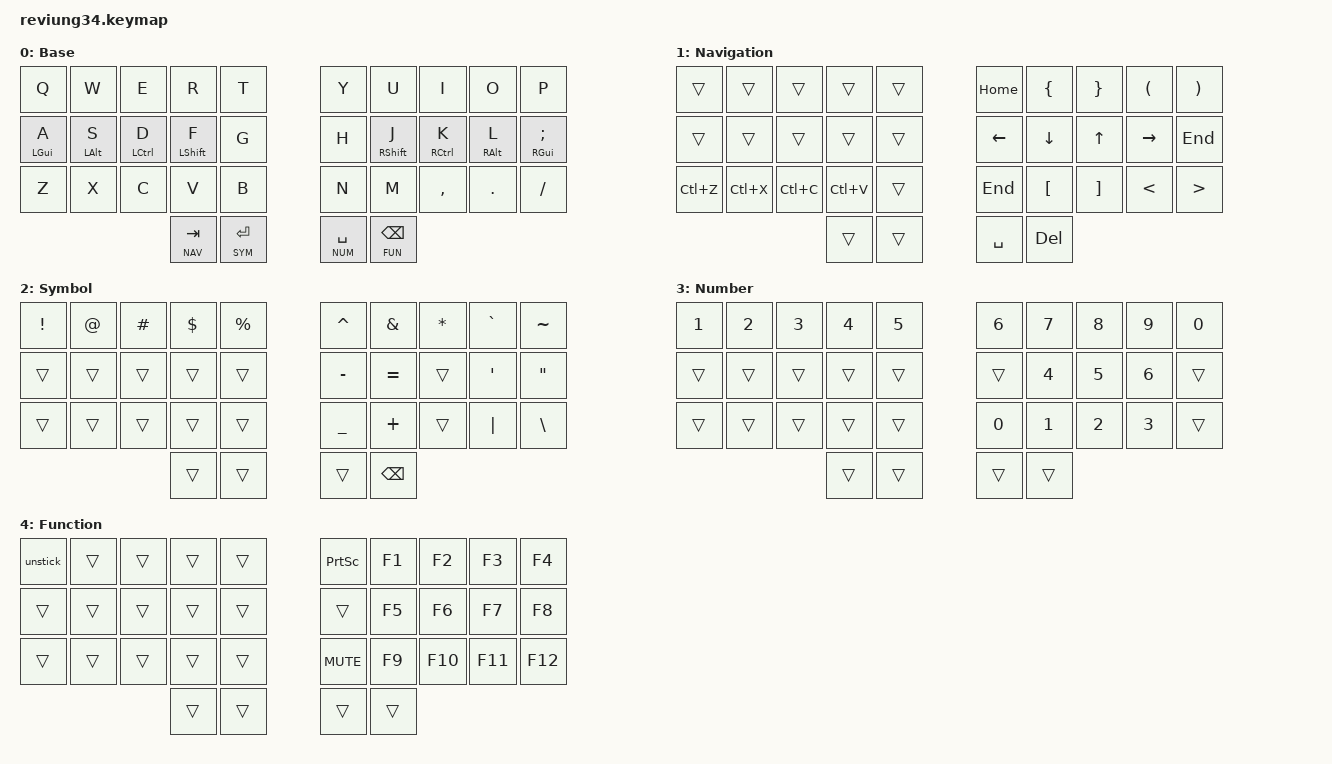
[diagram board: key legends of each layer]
/*
 * Copyright (c) 2023 The ZMK Contributors
 *
 * SPDX-License-Identifier: MIT
 */

#include <behaviors.dtsi>
#include <dt-bindings/zmk/keys.h>

#define DEFAULT 0
#define NAV 1
#define SYM 2
#define NUM 3
#define FUN 4

&mt {        
    #binding-cells = <2>;
    tapping-term-ms = <220>;
    quick-tap-ms = <125>;
    flavor = "balanced";
    bindings = <&kp>, <&kp>;
};

&caps_word {
    continue-list = <UNDERSCORE MINUS BSPC>;
};

/ {
    chosen {
        // 34 keys.

        zmk,matrix-transform = &dual_1u_transform;

        // 33 keys. Center two thumb keys replaced by a single 2u key. Remember to adjust your
        // keymap accordingly!
        // zmk,matrix-transform = &single_2u_transform;
    };
};

/ {

    macros {
        // sometimes my device thinks a modifier is being held down
        // pressing all modifiers fixes it.
        unstick: unstick {
                label = "ZM_unstick";
                compatible = "zmk,behavior-macro";
                #binding-cells = <0>;
                bindings
                        = <&kp LSHIFT &kp RSHIFT &kp LCTRL &kp RCTRL &kp LALT &kp RALT &kp LGUI &kp RGUI>;
        };
    };
    combos {
        compatible = "zmk,combos";

        /*
        combo_tab {
                timeout-ms = <50>;
                key-positions = <0 1>; // QW
                bindings = <&kp TAB>;
        };
        */

        combo_esc {
            timeout-ms = <50>;
            key-positions = <16 17>; // JK
            bindings = <&gresc>;
        };

        combo_gui {
            timeout-ms = <50>;
            key-positions = <20 21>; // ZX
            bindings = <&kp LGUI>;
        };

        combo_caps_word {
            timeout-ms = <50>;
            key-positions = <20 29>; // Z/
            bindings = <&caps_word>;
        };

        combo_caps {
            timeout-ms = <50>;
            key-positions = <10 19>; // A;
            bindings = <&kp CAPS>;
        };

        /*
        combo_bksp {
                timeout-ms = <50>;
                key-positions = <17 18>; // KL
                bindings = <&kp BSPC>;
        };
        combo_double_quote {
                timeout-ms = <50>;
                key-positions = <18 19>; // LM
                bindings = <&kp DQT>;
        };
        combo_single_quote {
                timeout-ms = <50>;
                key-positions = <28 29>; // ./
                bindings = <&kp SQT>;
        };
        */
    };

    keymap {
        compatible = "zmk,keymap";

        // ---------------------------------------------------------------------------------------------------
        // |    q    |    w    |    e     |    r    |  t  |   |  y  |    u    |    i     |    o    |    p    |
        // |    a    |    s    |    d     |    f    |  g  |   |  h  |    j    |    k     |   l     |    ;    |
        // |    z    |    x    |    c     |    v    |  b  |   |  n  |    m    |    ,     |    .    |    /    |
        //                        | NAV - TAB | SYM - SPACE | NUM - RET | FUN BSPC |

        base {
            display-name = "Base";
            bindings = <
&kp Q        &kp W       &kp E        &kp R        &kp T            &kp Y         &kp U         &kp I        &kp O       &kp P
&mt LGUI A   &mt LALT S  &mt LCTRL D  &mt LSHFT F  &kp G            &kp H         &mt RSHFT J   &mt RCTRL K  &mt RALT L  &mt RGUI SEMI
&kp Z        &kp X       &kp C        &kp V        &kp B            &kp N         &kp M         &kp COMMA    &kp DOT     &kp SLASH
                                      &lt NAV TAB  &lt SYM RET      &lt NUM SPACE &lt FUN BSPC
            >;
        };

        // ---------------------------------------------------------------------------------------------------
        // |    !    |    @    |    #     |    $    |  %  |   |  ^  |    &    |    *     |    `    |    ~    |
        // |         |         |          |         |     |   |  -  |    =    |          |    '    |    "    |
        // |   c-z   |   c-x   |   c-c    |   c-v   |     |   |  _  |    +    |          |    |    |    \    |
        //                                |         |     |   |     |   DEL   |

        nav {
            display-name = "Navigation";
            bindings = <
&trans     &trans     &trans     &trans     &trans    &kp HOME  &kp LBRC  &kp RBRC  &kp LPAR   &kp RPAR
&trans     &trans     &trans     &trans     &trans    &kp LEFT  &kp DOWN  &kp UP    &kp RIGHT  &kp END
&kp LC(Z)  &kp LC(X)  &kp LC(C)  &kp LC(V)  &trans    &kp END   &kp LBKT  &kp RBKT  &kp LT     &kp GT
                        &trans  &trans    &kp SPACE &kp DEL
            >;
        };

        // ---------------------------------------------------------------------------------------------------
        // |    1    |    2    |     3    |    4    |  5  |   |  6  |    7    |    8     |    9    |    0    |
        // |         |         |          |         |     |   |     |    4    |    5     |    6    |         |
        // |         |         |          |         |     |   |     |    1    |    2     |    3    |         |
        //                                |         |     |   |  0  |         |
        sym {
            display-name = "Symbol";
            bindings = <
&kp EXCL  &kp AT  &kp HASH  &kp DLLR  &kp PRCNT    &kp CARET  &kp AMPS   &kp ASTRK  &kp GRAVE  &kp TILDE
&trans    &trans  &trans    &trans    &trans       &kp MINUS  &kp EQUAL  &trans     &kp SQT    &kp DQT
&trans    &trans  &trans    &trans    &trans       &kp UNDER  &kp PLUS   &trans     &kp PIPE   &kp BSLH
                            &trans    &trans       &trans     &kp BSPC
            >;
        };

        // ---------------------------------------------------------------------------------------------------
        // |         |         |          |         |      |   | Home |    {    |     }    |    (    |     )   |
        // |         |         |          |         |      |   | Left |  Down   |    Up    |  Right  |   End   |
        // |         |         |          |         |      |   | End  |    [    |     ]    |    <    |     >   |
        //                                |         |      |   |      |   Bspc  |

        num {
            display-name = "Number";
            bindings = <
&kp N1  &kp N2  &kp N3  &kp N4  &kp N5    &kp N6  &kp N7  &kp N8  &kp N9  &kp N0
&trans  &trans  &trans  &trans  &trans    &trans  &kp N4  &kp N5  &kp N6  &trans
&trans  &trans  &trans  &trans  &trans    &kp N0  &kp N1  &kp N2  &kp N3  &trans
                        &trans  &trans    &trans  &trans
            >;
        };

        // ---------------------------------------------------------------------------------------------------
        // | unstick |         |          |         |     |   | printscreen |   F1  |   F2    |   F3     |   F4    |
        // |         |         |          |         |     |   |             |   F5  |   F6    |   F7     |   F8    |
        // |         |         |          |         |     |   |     mute    |   F9  |   F10   |   F11    |   F12   |
        //                                |         |     |   |             |       |

        func {
            display-name = "Function";
            bindings = <
&unstick  &trans  &trans  &trans  &trans    &kp PSCRN  &kp F1  &kp F2   &kp F3   &kp F4
&trans    &trans  &trans  &trans  &trans    &trans     &kp F5  &kp F6   &kp F7   &kp F8
&trans    &trans  &trans  &trans  &trans    &kp C_MUTE &kp F9  &kp F10  &kp F11  &kp F12
                        &trans  &trans    &trans  &trans
            >;
        };

        /*
        blank {
// ---------------------------------------------------------------------------------------------------
// |         |         |          |         |     |   |     |         |          |         |         |
// |         |         |          |         |     |   |     |         |          |         |         |
// |         |         |          |         |     |   |     |         |          |         |         |
//                                |         |     |   |     |         |
            display-name = "Blank";
            bindings = <
&trans &trans &trans &trans &trans      &trans &trans &trans &trans &trans
&trans &trans &trans &trans &trans      &trans &trans &trans &trans &trans
&trans &trans &trans &trans &trans      &trans &trans &trans &trans &trans
                     &trans &trans      &trans &trans
            >;
        };
    */
    };
};
